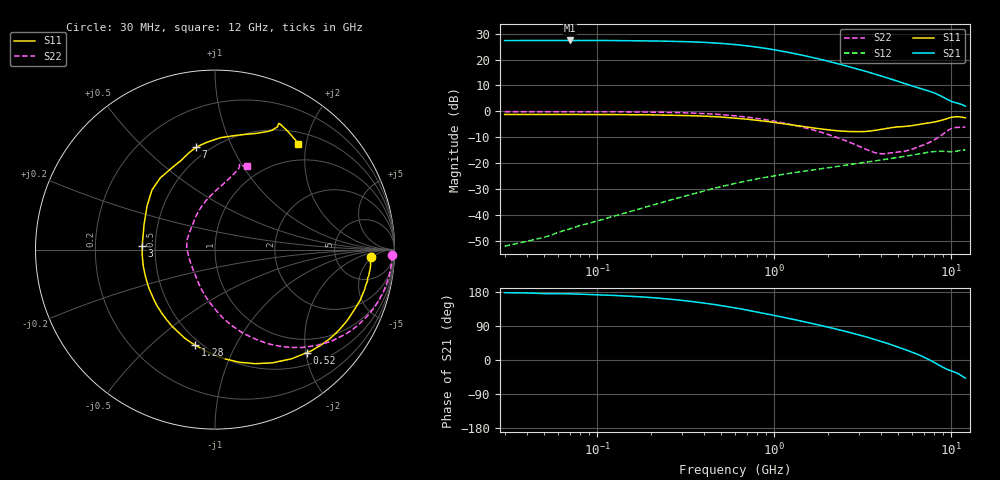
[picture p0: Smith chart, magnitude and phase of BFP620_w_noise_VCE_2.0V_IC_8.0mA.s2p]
! Infineon Technologies  Discrete & RF Semiconductors
! BFP620
! VCE =  2.0 V,  IC =  8.0 mA
! Common Emitter S-Parameters:  Nov 2015
# GHz  S  MA  R  50
!  f  S11  S21  S12  S22
! GHz  MAG  ANG  MAG  ANG  MAG  ANG  MAG  ANG
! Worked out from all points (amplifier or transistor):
!   239 points, 30 MHz to 12 GHz, reference 50 ohm
!   highest |S21| = 27.4 dB at 70 MHz (marker M1)
!   |S21| within 3 dB of that: start of sweep to 881.2 MHz
!   unconditionally stable (mu >= 1): 4.574 GHz to end of sweep
!   at 300 MHz: K = 0.14, MSG = 30.0 dB, |S12| = -33.0 dB
!   at 1.88 GHz: K = 0.65, MSG = 21.0 dB, |S12| = -22.1 dB
!   at 12 GHz: K = 1.16, MAG = 6.0 dB, |S12| = -15.0 dB
!   lowest NFmin = 0.69 dB at 450 MHz
!   S11 on the Smith chart (normalised r, x): 30 MHz: 13, -5; 520 MHz: 0.72, -2.03; 1.28 GHz: 0.46, -0.70; 3 GHz: 0.42, +0.02; 7 GHz: 0.43, +0.74; 12 GHz: 0.68, +1.86
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0.03  0.8718 -2.8  23.25 177.6  0.0025 71.1  0.9858 -1.9
0.04  0.8701 -3.9  23.36 177.0  0.0031 76.5  0.9861 -2.5
0.05  0.8683 -4.6  23.32 175.2  0.0037 76.9  0.9862 -3.3
0.07  0.871 -6.5  23.37 174.7  0.0054 78.7  0.986 -4.7
0.085  0.8698 -8.1  23.28 173.3  0.0066 79.9  0.9849 -5.7
0.145  0.863 -14.0  23.14 169.0  0.011 79.8  0.9782 -9.9
0.24  0.8469 -22.8  22.65 161.8  0.0181 76.7  0.9587 -16.4
0.36  0.82 -34.2  21.84 153.1  0.0264 71.8  0.922 -24.2
0.42  0.803 -39.5  21.3 149.0  0.0303 69.2  0.8993 -28.0
0.52  0.7694 -48.2  20.3 142.4  0.0363 65.3  0.8574 -34.0
0.6  0.7428 -55.0  19.51 137.5  0.0407 62.4  0.8228 -38.5
0.7  0.7074 -63.1  18.44 131.7  0.0456 58.9  0.7759 -43.6
0.9  0.6421 -77.8  16.36 121.9  0.0537 53.2  0.6858 -52.6
1.1  0.5854 -90.9  14.56 113.5  0.0603 48.6  0.6073 -60.1
1.28  0.5439 -101.7  13.18 107.3  0.0652 45.5  0.5453 -65.9
1.64  0.4816 -121.9  11 96.3  0.0738 40.5  0.4431 -76.4
2.2  0.4266 -149.7  8.613 82.4  0.085 34.8  0.3228 -91.4
3  0.4062 177.4  6.462 66.1  0.0991 28.2  0.213 -114.6
4.5  0.4833 136.6  4.262 41.4  0.1223 16.4  0.1579 178.3
7  0.5803 100.4  2.643 7.6  0.1574 -2.9  0.2266 115.2
9  0.6874 70.4  1.88 -19.9  0.1699 -22.8  0.3683 82.8
12  0.7517 51.8  1.257 -47.9  0.1788 -42.1  0.5002 68.8
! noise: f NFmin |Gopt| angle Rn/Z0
0.45  0.69  0.31  2  0.13
0.9  0.7  0.25  7  -0.06
1.9  0.72  0.15  26  -0.14
2.4  0.77  0.08  46  0.11
3.5  0.83  0.03  -168  0.12
5.5  1.17  0.07  -122  0.14
10  1.72  0.6  -53  0.74
